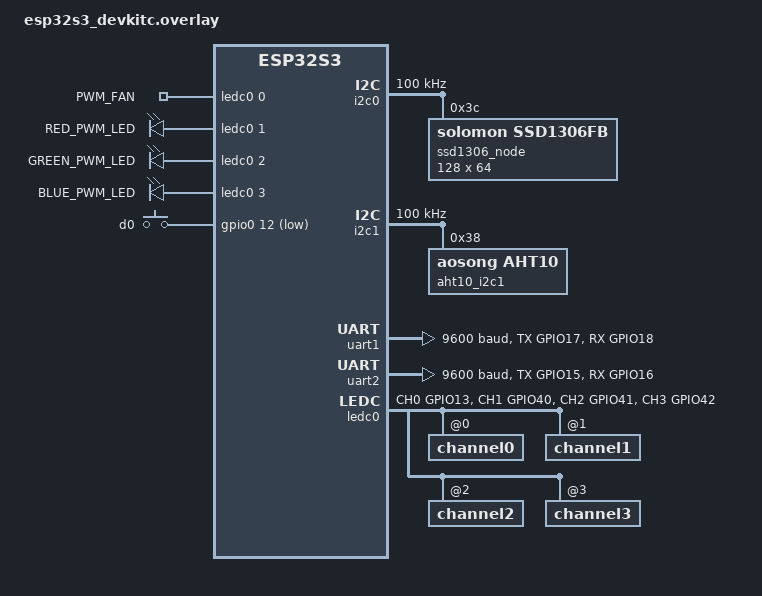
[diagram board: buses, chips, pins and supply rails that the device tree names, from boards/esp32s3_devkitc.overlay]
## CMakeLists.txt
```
cmake_minimum_required(VERSION 3.20.0)

list(APPEND ZEPHYR_EXTRA_MODULES ${CMAKE_CURRENT_SOURCE_DIR}/../modules/aht10)
list(APPEND ZEPHYR_EXTRA_MODULES ${CMAKE_CURRENT_SOURCE_DIR}/../modules/button)

find_package(Zephyr REQUIRED HINTS $ENV{ZEPHYR_BASE})
project(u8g2_zephyr_app)

# 添加 U8G2 库源码路径
set(U8G2_ROOT ${CMAKE_CURRENT_SOURCE_DIR}/modules/display/u8g2)
set(U8G2_CSRC ${U8G2_ROOT}/csrc)

# 添加Zephyr兼容层 和 GUI 文件
set(ZEPHYR_U8G2 ${CMAKE_CURRENT_SOURCE_DIR}/modules/display/u8g2_zephyr_port)
set(GUI ${CMAKE_CURRENT_SOURCE_DIR}/modules/display/gui)

# 自动配网相关
set(ZEPHYR_WIFI_PROV ${CMAKE_CURRENT_SOURCE_DIR}/modules/services/wifi_prov)

# MQTT相关
set(ZEPHYR_MQTT ${CMAKE_CURRENT_SOURCE_DIR}/modules/services/mqtt)

# 传感器中心
set(SENSOR_CENTER ${CMAKE_CURRENT_SOURCE_DIR}/modules/services/sensor_center)

# DC01 传感器驱动
set(DC01_DRIVER ${CMAKE_CURRENT_SOURCE_DIR}/modules/drivers/dc01)

# TOVC-301 传感器驱动
set(TOVC_301_DRIVER ${CMAKE_CURRENT_SOURCE_DIR}/modules/drivers/tovc_301)

# AHT10 传感器 APP
set(AHT10_DRIVER ${CMAKE_CURRENT_SOURCE_DIR}/modules/drivers/aht10_app)

# 风扇驱动
set(FAN_DRIVER ${CMAKE_CURRENT_SOURCE_DIR}/modules/drivers/fan)

# RGB PWM LED 驱动
set(RGB_PWM_LED_DRIVER ${CMAKE_CURRENT_SOURCE_DIR}/modules/drivers/rgb_led)

# 控制中心
set(CONTROL_CENTER ${CMAKE_CURRENT_SOURCE_DIR}/modules/services/control_center)

# 状态指示服务
set(STATUS_INDICATOR ${CMAKE_CURRENT_SOURCE_DIR}/modules/services/status_indicator)

# 按钮服务
set(BUTTON_APP ${CMAKE_CURRENT_SOURCE_DIR}/modules/drivers/button_app)

# 头文件搜索路径
target_include_directories(app PRIVATE 
    ${U8G2_CSRC} 
    ${GUI} 
    ${ZEPHYR_U8G2} 
    ${ZEPHYR_WIFI_PROV} 
    ${ZEPHYR_MQTT} 
    ${SENSOR_CENTER}
    ${DC01_DRIVER}
    ${TOVC_301_DRIVER}
    ${AHT10_DRIVER}
    ${FAN_DRIVER}
    ${CONTROL_CENTER}
    ${STATUS_INDICATOR}
    ${RGB_PWM_LED_DRIVER}
    ${BUTTON_APP}
)

# 移除这里的 U8G2_16BIT 宏定义，因为源码 u8g2.h 已经定义了，避免报 Redefined 警告
target_compile_definitions(app PRIVATE
    U8X8_USE_PINS
)

# 添加 U8G2 库源码文件(此处没有全部包含，若报错请根据报错信息补充对应文件)
target_sources(app PRIVATE
    src/main.c

    # --- 基础核心 ---
    ${U8G2_CSRC}/u8g2_setup.c
    ${U8G2_CSRC}/u8g2_d_setup.c
    ${U8G2_CSRC}/u8g2_d_memory.c
    ${U8G2_CSRC}/u8g2_buffer.c
    
    # --- U8x8 核心 ---
    ${U8G2_CSRC}/u8x8_display.c
    ${U8G2_CSRC}/u8x8_setup.c
    ${U8G2_CSRC}/u8x8_8x8.c
    ${U8G2_CSRC}/u8x8_byte.c
    ${U8G2_CSRC}/u8x8_gpio.c
    ${U8G2_CSRC}/u8x8_cad.c
    ${U8G2_CSRC}/u8x8_string.c
    ${U8G2_CSRC}/u8x8_fonts.c
    ${U8G2_CSRC}/u8x8_selection_list.c # u8x8 基础支持

    # --- 绘图逻辑 ---
    ${U8G2_CSRC}/u8g2_font.c
    ${U8G2_CSRC}/u8g2_font.c
    ${U8G2_CSRC}/u8g2_bitmap.c
    ${U8G2_CSRC}/u8g2_hvline.c
    ${U8G2_CSRC}/u8g2_ll_hvline.c      # u8g2_ll_hvline_vertical_top_lsb
    ${U8G2_CSRC}/u8g2_intersection.c   # u8g2_IsIntersection
    ${U8G2_CSRC}/u8g2_box.c            # u8g2_DrawBox 和 u8g2_DrawFrame

    # --- 字体与字符处理 ---
    ${U8G2_CSRC}/u8x8_u8toa.c          # 基础转换
    ${U8G2_CSRC}/u8x8_u16toa.c
    ${U8G2_CSRC}/u8g2_fonts.c          # u8g2_font_ncenB08_tr

    # --- 显示驱动 ---
    ${U8G2_CSRC}/u8x8_d_ssd1306_128x64_noname.c

    # --- GUI 相关 ---
    ${ZEPHYR_U8G2}/u8g2_zephyr_port.c
    ${GUI}/gui_app.c
    ${GUI}/gui.c

    # --- WiFi 配网相关 ---
    ${ZEPHYR_WIFI_PROV}/wifi_prov_app.c
    ${ZEPHYR_WIFI_PROV}/wifi_provisioning.c

    # --- MQTT 相关 ---
    ${ZEPHYR_MQTT}/app_mqtt.c
    ${ZEPHYR_MQTT}/mqtt_backend.c

    # --- 传感器中心 ---
    ${SENSOR_CENTER}/sensor_center.c

    # --- DC01 传感器驱动 ---
    ${DC01_DRIVER}/dc01_app.c

    # --- TOVC-301 传感器驱动 ---
    ${TOVC_301_DRIVER}/tovc_301.c

    # --- AHT10 传感器 APP ---
    ${AHT10_DRIVER}/aht10_app.c

    # --- 风扇驱动 ---
    ${FAN_DRIVER}/fan.c

    # --- 控制中心 ---
    ${CONTROL_CENTER}/control_center.c

    # --- 状态指示服务 ---
    ${STATUS_INDICATOR}/status_indicator.c

    # --- RGB PWM LED 驱动 ---
    ${RGB_PWM_LED_DRIVER}/rgb_led.c

    # --- 按钮服务 ---
    ${BUTTON_APP}/button_app.c
)
```

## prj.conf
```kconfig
CONFIG_GPIO=y
CONFIG_I2C=y


# Wi-Fi Configuration
CONFIG_WIFI=y
CONFIG_WIFI_NM=y
CONFIG_WIFI_USAGE_MODE_STA_AP=y

# Network Configuration
CONFIG_NET_CONFIG_AUTO_INIT=n
CONFIG_NET_CONNECTION_MANAGER=y
CONFIG_NET_DHCPV4=y
CONFIG_NET_DHCPV4_SERVER=y
CONFIG_NET_SOCKETS=y
CONFIG_NET_IF_MAX_IPV4_COUNT=2
CONFIG_NET_IF_MAX_IPV6_COUNT=2
CONFIG_NET_IPV4=y
CONFIG_NET_L2_ETHERNET=y
CONFIG_NET_L2_WIFI_MGMT=y
CONFIG_NET_MGMT=y
CONFIG_NET_MGMT_EVENT=y
CONFIG_NET_MGMT_EVENT_INFO=y
CONFIG_NET_MGMT_EVENT_QUEUE_SIZE=10
CONFIG_NET_MGMT_EVENT_STACK_SIZE=4096
CONFIG_NET_PKT_RX_COUNT=16
CONFIG_NET_PKT_TX_COUNT=16
CONFIG_NET_SOCKETS_SERVICE_STACK_SIZE=4096
CONFIG_NET_TCP=y
CONFIG_NET_UDP=y
CONFIG_NETWORKING=y

# Heap size for Wi-Fi/HTTP/DNS
CONFIG_HEAP_MEM_POOL_SIZE=98304

# NVS storage for Wi-Fi credentials
CONFIG_FLASH=y
CONFIG_FLASH_MAP=y
CONFIG_FLASH_PAGE_LAYOUT=y
CONFIG_NVS=y

# LOG Configuration
CONFIG_NET_LOG=y
CONFIG_NET_DHCPV4_SERVER_LOG_LEVEL_DBG=y
CONFIG_LOG=y
CONFIG_LOG_DEFAULT_LEVEL=3


#### 配网相关配置(不增大不行) ####
# Main Stack Size (Increased for WiFi and System Init)
CONFIG_MAIN_STACK_SIZE=8192

# ISR Stack Size (Increased for complex WiFi/Logging interrupts)
CONFIG_ISR_STACK_SIZE=4096

# 系统工作队列栈大小：用于处理网络后台事件
CONFIG_SYSTEM_WORKQUEUE_STACK_SIZE=4096


# =====================================================
#  MQTT相关
# =====================================================
# 启用 JSON 库
CONFIG_JSON_LIBRARY=y

# 启用浮点数打印支持 (printk %f)
CONFIG_CBPRINTF_FP_SUPPORT=y

# 启用 DNS 解析（如果 MQTT_BROKER 是域名则必须开启）
CONFIG_DNS_RESOLVER=y

# 启用 POSIX API 兼容层（允许使用 socket/connect 等标准名称）
CONFIG_POSIX_API=y

# 启用 Zephyr 官方 MQTT 库
CONFIG_MQTT_LIB=y
CONFIG_MQTT_LIB_TLS=y

# 缓冲区与性能优化 (防止连接被重置)
# 这里的缓冲区大小直接影响高并发或大数据包时的稳定性
CONFIG_NET_BUF_RX_COUNT=32
CONFIG_NET_BUF_TX_COUNT=32

# =====================================================
#  传感器相关
# =====================================================

# Uart 相关(用于Uart 传感器)
CONFIG_SERIAL=y
CONFIG_UART_INTERRUPT_DRIVEN=y

# Sensor 传感器框架
CONFIG_SENSOR=y
CONFIG_AHT10=y

# PWM 支持 (用于风扇控制)
CONFIG_PWM=y

# 自定义按钮驱动
CONFIG_CUSTOM_BUTTON=y
```

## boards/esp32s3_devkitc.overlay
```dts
#include <zephyr/dt-bindings/pinctrl/esp-pinctrl-common.h>
#include <dt-bindings/pinctrl/esp32s3-pinctrl.h>
#include <zephyr/dt-bindings/pwm/pwm.h>
// SDA GPIO1 ; SCL GPIO2
/ {
	aliases {
		oled-display = &ssd1306_node;
		dc-01 = &uart1;
		tovc-301 = &uart2;
		aosong-aht10 = &aht10_i2c1;
		fan-pwm = &pwm_output;
		red-pwm-led = &red_pwm_led;
		green-pwm-led = &green_pwm_led;
		blue-pwm-led = &blue_pwm_led;
		key = &button_1;
	};

	wifi_ap: wifi_ap {
		compatible = "espressif,esp32-wifi";
		status = "okay";
	};

	pwmleds {
		compatible = "pwm-leds";

		pwm_output: pwm_output_node {
			/* 使用 ledc0 的通道 0, 周期 55556ns, 标志位 PWM_POLARITY_NORMAL */
			pwms = <&ledc0 0 55556 PWM_POLARITY_NORMAL>;
			label = "PWM_FAN";
		};

		red_pwm_led: red_pwm_led_node {
			pwms = <&ledc0 1 1000000 PWM_POLARITY_NORMAL>;
			label = "RED_PWM_LED";
		};

		green_pwm_led: green_pwm_led_node {
			pwms = <&ledc0 2 1000000 PWM_POLARITY_NORMAL>;
			label = "GREEN_PWM_LED";
		};

		blue_pwm_led: blue_pwm_led_node {
			pwms = <&ledc0 3 1000000 PWM_POLARITY_NORMAL>;
			label = "BLUE_PWM_LED";
		};
	};

	custom-buttons {
		button_1: custom_button_1 {
			compatible = "custom,button";
			pin = <&d0>;
		};
	};

	buttons {
		compatible = "gpio-keys";

		d0: button_0 {
			gpios = <&gpio0 12 (GPIO_PULL_UP | GPIO_ACTIVE_LOW)>;
			zephyr,code = <INPUT_KEY_0>;
		};
	};

	chosen {
		zephyr,storage-partition = &storage_partition;
	};
};

/* 1. 必须将引脚定义在 &pinctrl 节点内部 */
&pinctrl {
	i2c0_default: i2c0_default {
		group1 {
			/* 在 Zephyr v3.x+ 中，推荐使用这种宏格式 */
			pinmux = <I2C0_SDA_GPIO1>,
					 <I2C0_SCL_GPIO2>;
			bias-pull-up;
			drive-open-drain;
			output-high;
		};
	};

	i2c1_default: i2c1_default {
		group1 {
			pinmux = <I2C1_SDA_GPIO4>,
					 <I2C1_SCL_GPIO5>;
			bias-pull-up;
			drive-open-drain;
			output-high;
		};
	};

	uart1_default: uart1_default {
		group1 {
			pinmux = <UART1_TX_GPIO17>;
			output-high;
		};

		group2 {
			pinmux = <UART1_RX_GPIO18>;
			bias-pull-up;
		};
	};

	// Uart2的引脚随便配置，后续根据实际随意修改即可
	uart2_default: uart2_default {
		group1 {
			pinmux = <UART2_TX_GPIO15>;
			output-high;
		};

		group2 {
			pinmux = <UART2_RX_GPIO16>;
			bias-pull-up;
		};
	};

	ledc0_default: ledc0_default {
		group1 {
			pinmux = <LEDC_CH0_GPIO13>, // FAN
					 <LEDC_CH1_GPIO40>, // RED
					 <LEDC_CH2_GPIO41>, // GREEN
					 <LEDC_CH3_GPIO42>; // BLUE
			output-enable;
		};
	};
};

// OLED 显示屏 SSD1306
&i2c0 {
	status = "okay";
	clock-frequency = <I2C_BITRATE_STANDARD>;
	/* 注意这里一定要有 & 符号！ */
	pinctrl-0 = <&i2c0_default>;
	pinctrl-names = "default"; // SDA : GPIO1 ; SCL : GPIO2

	ssd1306_node: ssd1306@3c {
		compatible = "solomon,ssd1306fb";
		status = "okay";
		reg = <0x3c>;
		width = <128>;
		height = <64>;
		segment-offset = <0>;
		page-offset = <0>;
		display-offset = <0>;
		multiplex-ratio = <63>;
		segment-remap;
		com-invdir;
		prechargep = <0x22>;
	};
};

// AHT10 温湿度传感器
&i2c1 {
	status = "okay";
	clock-frequency = <I2C_BITRATE_STANDARD>;
	/* 注意这里一定要有 & 符号！ */
	pinctrl-0 = <&i2c1_default>; // SDA : GPIO4 ; SCL : GPIO5
	pinctrl-names = "default";

	// 节点名必须为 aht10@38
	aht10_i2c1: aht10@38 {
		compatible = "aosong,aht10";
		reg = <0x38>;          // AHT10 固定地址
		status = "okay";
		// label = "AHT10_I2C1"; // 可选：用于驱动识别
	};
};

// DC01 -- PM 2.5 传感器
&uart1 {
	status = "okay";
	current-speed = <9600>;
	pinctrl-0 = <&uart1_default>;
	pinctrl-names = "default";
};

// TOVC-301 -- TVOC 传感器
&uart2 {
	status = "okay";
	current-speed = <9600>;
	pinctrl-0 = <&uart2_default>;
	pinctrl-names = "default";
};

// 电机 PWM 输出配置
&ledc0 {
	pinctrl-0 = <&ledc0_default>;
	pinctrl-names = "default";
	status = "okay";
	#address-cells = <1>;
	#size-cells = <0>;

	/* 配置通道 0 */
	channel0@0 {
		reg = <0x0>;
		timer = <0>;
	};

	channel1@1 {
		reg = <0x1>;
		timer = <1>;
	};

	channel2@2 {
		reg = <0x2>;
		timer = <1>;
	};

	channel3@3 {
		reg = <0x3>;
		timer = <1>;
	};
};
```

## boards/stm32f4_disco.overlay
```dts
/ {
	aliases {
		oled-display = &ssd1306_node;
	};
};

&i2c2 {
	clock-frequency = <I2C_BITRATE_FAST>;
	pinctrl-0 = <&i2c2_scl_pb10 &i2c2_sda_pb11>;
	pinctrl-names = "default";
	status = "okay";

	/* 定义 OLED 屏幕节点(实际并未使用 ssd1306 驱动) */
	ssd1306_node: ssd1306@3c {
		compatible = "solomon,ssd1306fb";
		reg = <0x3c>;
		status = "okay";
		width = <128>;
		height = <64>;
		segment-offset = <0>;
		page-offset = <0>;
		display-offset = <0>;
		multiplex-ratio = <63>;
		segment-remap;
		com-invdir;
		prechargep = <0x22>;
	};
};
```

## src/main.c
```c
/**
 * @file main.c
 * @author HL 
 * @brief 空气净化器主应用程序入口
 * @version 1.0
 * @date 2026-2-2
 * @note 主体控制逻辑位于services模块中的control_center，此处负责初始化各子模块
 */
#include <zephyr/kernel.h>
#include <u8g2.h>
#include "u8g2_zephyr_port.h"

#include "gui_app.h"
#include "wifi_prov_app.h"
#include "app_mqtt.h"
#include "sensor_center.h"
#include "dc01_app.h"
#include "tovc_301.h"
#include "aht10_app.h"
#include "fan.h"
#include "status_indicator.h"
#include "button_app.h"


// U8G2 GUI
#define GUI_STACK_SIZE 2048
K_THREAD_STACK_DEFINE(gui_stack, GUI_STACK_SIZE);
struct k_thread gui_thread_data;

// Sensor center thread data
#define SENSOR_HUB_STACK_SIZE 1024
K_THREAD_STACK_DEFINE(sensor_hub_stack, SENSOR_HUB_STACK_SIZE);
struct k_thread sensor_hub_thread_data;


int main(void) {
    printk("Air Purifier Application Start\n");

    /* 1. 先创建并启动 GUI 线程，确保上电屏幕立刻显示 */
    k_thread_create(&gui_thread_data, gui_stack,
                    K_THREAD_STACK_SIZEOF(gui_stack),
                    gui_thread_func,
                    NULL, NULL, NULL,
                    5, 0, K_NO_WAIT);

    /* 启动传感器中心处理线程 */
    k_thread_create(&sensor_hub_thread_data, sensor_hub_stack,
                    K_THREAD_STACK_SIZEOF(sensor_hub_stack),
                    sensor_hub_thread,
                    NULL, NULL, NULL,
                    6, 0, K_NO_WAIT);

    /* 2. 这里的休眠只影响配网启动，不会阻塞 GUI 显示了 */
    printk("Starting WiFi Provisioning Service...\n");

    /* 3. 等待配网 */
    wifi_prov_app_start();
    int64_t start_time = k_uptime_get(); // 记录开始时间
    // 每5秒检查一次，直到连接成功或超时
    while (k_sem_take(&wifi_connected_sem, K_SECONDS(5)) != 0) {
        if (k_uptime_get() - start_time > K_HOURS(1).ticks * CONFIG_SYS_CLOCK_TICKS_PER_SEC / 1000) {
            printk("WiFi Provisioning Timeout. Restarting...\n");
            break; // 超时，跳出等待
        }
        printk("Waiting for WiFi connection...\n");
        // 闪烁LED、喂看门狗
    }

    // 4. 启动 MQTT 客户端
    app_mqtt_start();

    // 5. 启动 DC01 传感器应用
    dc01_sensor_app_start();

    // 6. 启动 TOVC-301 传感器应用
    tovc_sensor_app_start();

    // 7. 启动 AHT10 传感器应用
    aht10_app_start();

    // 8. 启动风扇控制应用
    fan_app_start();

    // 9. 启动状态指示灯服务
    status_indicator_init();

    // 10. 启动按钮服务
    button_app_start();

    while (1) {
        k_msleep(1000);
    }

    return 0;
}
```
